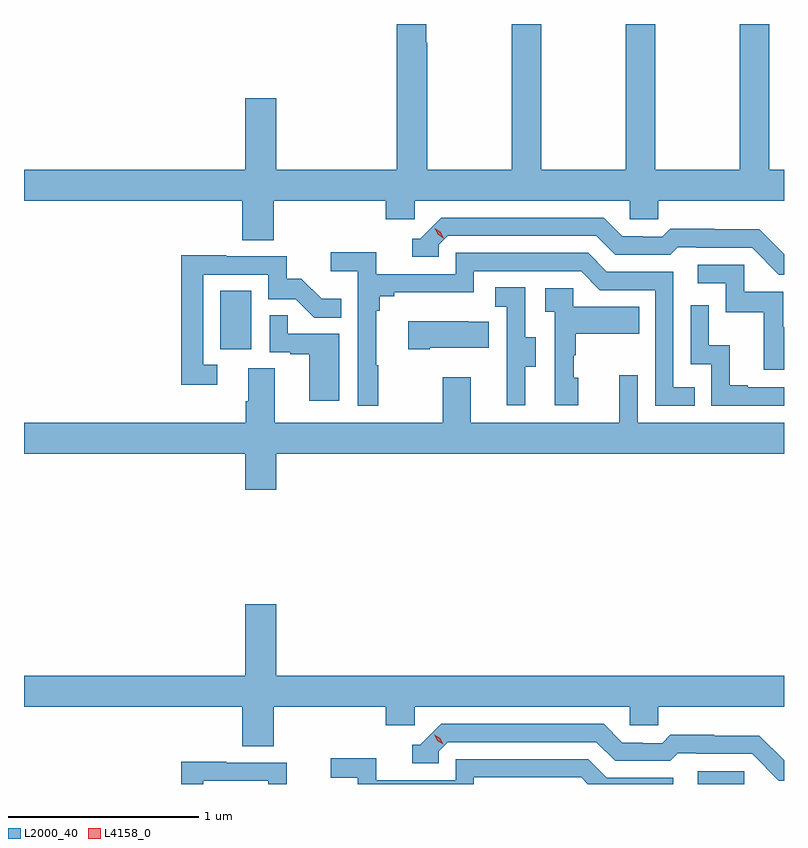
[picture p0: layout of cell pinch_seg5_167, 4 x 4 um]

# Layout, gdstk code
import gdstk
lib = gdstk.Library(unit=1e-6, precision=1e-09)
def R(c, l, rs):  # rectangles x0, y0, x1, y1
    for r in rs: c.add(gdstk.rectangle(r[:2], r[2:], *l))
def P(c, l, *ps):  # polygons
    for p in ps: c.add(gdstk.Polygon(p, *l))
L2000_40 = (2000, 40)
L4158_0 = (4158, 0)

pinch_seg5_167 = lib.new_cell('pinch_seg5_167')
R(pinch_seg5_167, L2000_40, [(1144.413,881.662,1144.656,881.73), (1141.898,883.95,1142.062,884.257)])
P(pinch_seg5_167, L2000_40, [(1142.18,884.732),(1142.771,884.732),(1142.771,884.634),(1142.922,884.634),(1142.922,884.732),(1144.053,884.732),(1144.053,884.634),(1144.203,884.634),(1144.203,884.732),(1144.866,884.732),(1144.866,884.896),(1144.788,884.896),(1144.788,885.662),(1144.633,885.662),(1144.633,884.896),(1144.188,884.896),(1144.188,885.662),(1144.033,885.662),(1144.033,884.896),(1143.588,884.896),(1143.588,885.662),(1143.433,885.662),(1143.433,884.896),(1142.988,884.896),(1142.988,885.563),(1142.983,885.563),(1142.983,885.662),(1142.828,885.662),(1142.828,884.896),(1142.194,884.896),(1142.194,885.271),(1142.03,885.271),(1142.03,884.896),(1140.866,884.896),(1140.866,884.732),(1142.015,884.732),(1142.015,884.524),(1142.18,884.524)],
  [(1144.866,884.451),(1144.736,884.581),(1144.5,884.581),(1144.5,884.584),(1144.267,884.584),(1144.225,884.541),(1144.122,884.541),(1144.122,884.544),(1144.015,884.544),(1143.916,884.643),(1143.063,884.643),(1142.952,884.532),(1142.909,884.532),(1142.909,884.436),(1143.048,884.436),(1143.048,884.499),(1143.096,884.547),(1143.879,884.547),(1143.978,884.448),(1144.267,884.448),(1144.306,884.487),(1144.405,884.487),(1144.405,884.484),(1144.698,884.484),(1144.839,884.343),(1144.866,884.343)],
  [(1142.731,883.865),(1142.719,883.865),(1142.719,884.153),(1142.738,884.153),(1142.738,884.23),(1142.815,884.23),(1142.815,884.249),(1143.234,884.249),(1143.234,884.361),(1143.798,884.361),(1143.897,884.262),(1144.188,884.262),(1144.188,883.653),(1144.397,883.653),(1144.397,883.749),(1144.284,883.749),(1144.284,884.358),(1143.934,884.358),(1143.835,884.457),(1143.138,884.457),(1143.138,884.346),(1142.72,884.346),(1142.72,884.462),(1142.481,884.462),(1142.481,884.36),(1142.622,884.36),(1142.622,883.653),(1142.731,883.653)],
  [(1141.882,883.869),(1141.809,883.869),(1141.809,884.343),(1142.151,884.343),(1142.151,884.214),(1142.295,884.214),(1142.393,884.116),(1142.537,884.116),(1142.537,884.215),(1142.433,884.215),(1142.326,884.322),(1142.25,884.322),(1142.25,884.439),(1141.931,884.439),(1141.931,884.444),(1141.693,884.444),(1141.693,883.764),(1141.882,883.764)],
  [(1144.866,884.067),(1144.861,884.067),(1144.861,884.253),(1144.656,884.253),(1144.656,884.394),(1144.413,884.394),(1144.413,884.298),(1144.56,884.298),(1144.56,884.145),(1144.759,884.145),(1144.759,883.842),(1144.866,883.842)],
  [(1143.505,883.858),(1143.559,883.858),(1143.559,884.013),(1143.504,884.013),(1143.504,884.276),(1143.345,884.276),(1143.345,884.173),(1143.408,884.173),(1143.408,883.869),(1143.407,883.869),(1143.407,883.656),(1143.505,883.656)],
  [(1143.784,883.8),(1143.759,883.8),(1143.759,883.919),(1143.769,883.919),(1143.769,884.033),(1144.103,884.033),(1144.103,884.173),(1143.756,884.173),(1143.756,884.271),(1143.609,884.271),(1143.609,884.147),(1143.66,884.147),(1143.66,883.656),(1143.784,883.656)],
  [(1144.866,883.749),(1144.675,883.749),(1144.675,883.762),(1144.58,883.762),(1144.58,883.97),(1144.47,883.97),(1144.47,884.182),(1144.374,884.182),(1144.374,883.872),(1144.482,883.872),(1144.482,883.653),(1144.866,883.653)],
  [(1142.524,884.031),(1142.255,884.031),(1142.255,884.129),(1142.16,884.129),(1142.16,883.935),(1142.267,883.935),(1142.267,883.923),(1142.366,883.923),(1142.366,883.68),(1142.524,883.68)],
  [(1143.001,883.958),(1143.311,883.958),(1143.311,884.095),(1143.203,884.095),(1143.203,884.098),(1142.889,884.098),(1142.889,883.951),(1143.001,883.951)],
  [(1142.194,883.4),(1144.866,883.4),(1144.866,883.564),(1144.095,883.564),(1144.095,883.813),(1143.998,883.813),(1143.998,883.564),(1143.217,883.564),(1143.217,883.804),(1143.07,883.804),(1143.07,883.564),(1142.185,883.564),(1142.185,883.85),(1142.045,883.85),(1142.045,883.676),(1142.033,883.676),(1142.033,883.564),(1140.866,883.564),(1140.866,883.4),(1142.03,883.4),(1142.03,883.212),(1142.194,883.212)],
  [(1142.18,882.068),(1142.771,882.068),(1142.771,881.97),(1142.922,881.97),(1142.922,882.068),(1144.053,882.068),(1144.053,881.97),(1144.203,881.97),(1144.203,882.068),(1144.866,882.068),(1144.866,882.232),(1142.194,882.232),(1142.194,882.607),(1142.03,882.607),(1142.03,882.232),(1140.866,882.232),(1140.866,882.068),(1142.015,882.068),(1142.015,881.86),(1142.18,881.86)],
  [(1144.866,881.787),(1144.736,881.917),(1144.5,881.917),(1144.5,881.92),(1144.267,881.92),(1144.225,881.877),(1144.122,881.877),(1144.122,881.88),(1144.015,881.88),(1143.916,881.979),(1143.063,881.979),(1142.952,881.868),(1142.909,881.868),(1142.909,881.772),(1143.048,881.772),(1143.048,881.835),(1143.096,881.883),(1143.879,881.883),(1143.978,881.784),(1144.267,881.784),(1144.306,881.823),(1144.405,881.823),(1144.405,881.82),(1144.698,881.82),(1144.839,881.679),(1144.866,881.679)],
  [(1143.234,881.697),(1143.798,881.697),(1143.833,881.662),(1144.284,881.662),(1144.284,881.694),(1143.934,881.694),(1143.835,881.793),(1143.138,881.793),(1143.138,881.682),(1142.72,881.682),(1142.72,881.798),(1142.481,881.798),(1142.481,881.696),(1142.622,881.696),(1142.622,881.662),(1143.234,881.662)],
  [(1141.809,881.679),(1142.151,881.679),(1142.151,881.662),(1142.25,881.662),(1142.25,881.775),(1141.931,881.775),(1141.931,881.78),(1141.693,881.78),(1141.693,881.662),(1141.809,881.662)])
P(pinch_seg5_167, L4158_0, [(1143.073,884.535),(1143.043,884.555),(1143.028,884.587),(1143.028,884.588),(1143.028,884.588),(1143.058,884.568),(1143.074,884.535),(1143.074,884.535)],
  [(1143.073,881.87),(1143.042,881.889),(1143.026,881.922),(1143.026,881.922),(1143.026,881.922),(1143.057,881.903),(1143.073,881.87),(1143.073,881.87)])

lib.write_gds('pinch_seg5_167.gds')
